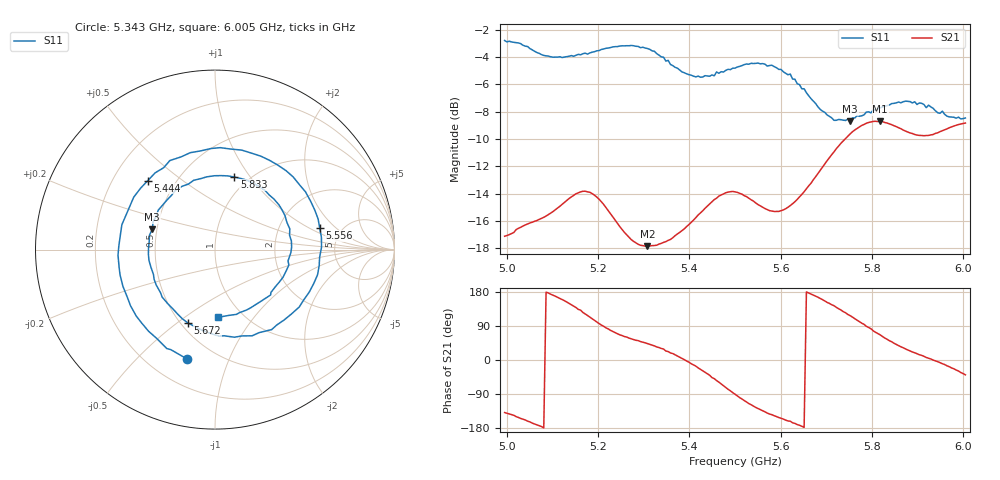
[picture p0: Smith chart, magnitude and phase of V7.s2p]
!File created by NanoVNA
# Hz S RI R 50
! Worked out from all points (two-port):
!   201 points, 4.995 GHz to 6.005 GHz, reference 50 ohm
!   highest |S21| = -8.70 dB at 5.818 GHz (marker M1); lowest = -17.8 dB at 5.308 GHz (marker M2)
!   |S21| within 3 dB of the highest: 5.699 GHz to end of sweep
!   lowest |S11| = -8.7 dB at 5.753 GHz (marker M3), VSWR 2.16, Z = 23.6 + j6.19 ohm
!   |S11| at or under -10 dB: nowhere
!   S12 and S22 are empty: the file has one direction only
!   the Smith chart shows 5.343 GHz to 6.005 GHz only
!   S11 on the Smith chart (normalised r, x): 5.343 GHz: 0.35, -0.72; 5.444 GHz: 0.35, +0.38; 5.556 GHz: 3.43, +1.28; 5.672 GHz: 0.54, -0.55; 5.833 GHz: 0.86, +0.84; 6.005 GHz: 0.78, -0.68
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4.995e9  0.2141 -0.6927  -0.1047 -0.0921  0 0  0 0
5.03035e9  -0.2713 -0.6514  -0.1355 -0.0652  0 0  0 0
5.08085e9  -0.6366 -0.0563  -0.1635 -0.00274  0 0  0 0
5.1263e9  -0.3978 0.4895  -0.17 0.0743  0 0  0 0
5.1667e9  0.0974 0.641  -0.1177 0.1661  0 0  0 0
5.2374e9  0.6828 0.0863  0.0494 0.1518  0 0  0 0
5.27275e9  0.6131 -0.3276  0.0759 0.1122  0 0  0 0
5.3081e9  0.2896 -0.6124  0.0934 0.0879  0 0  0 0
5.33335e9  -0.0424 -0.6395  0.1096 0.0708  0 0  0 0
5.34345e9  -0.154 -0.6104  0.116 0.0639  0 0  0 0
5.39395e9  -0.5285 -0.143  0.1511 -0.00703  0 0  0 0
5.44445e9  -0.3747 0.384  0.1398 -0.1181  0 0  0 0
5.5e9  0.1977 0.5392  -0.000797 -0.2025  0 0  0 0
5.55555e9  0.5833 0.1203  -0.1182 -0.1357  0 0  0 0
5.6212e9  0.3158 -0.4456  -0.1712 -0.0572  0 0  0 0
5.6717e9  -0.1511 -0.4083  -0.2217 0.0343  0 0  0 0
5.7525e9  -0.3494 0.1134  -0.1498 0.2943  0 0  0 0
5.81815e9  -0.00435 0.4114  0.1471 0.3364  0 0  0 0
5.8333e9  0.1078 0.4045  0.2092 0.295  0 0  0 0
5.83835e9  0.1402 0.3972  0.2268 0.2787  0 0  0 0
5.90905e9  0.4269 0.0144  0.3183 0.0693  0 0  0 0
6.005e9  0.0187 -0.3769  0.2804 -0.2285  0 0  0 0
